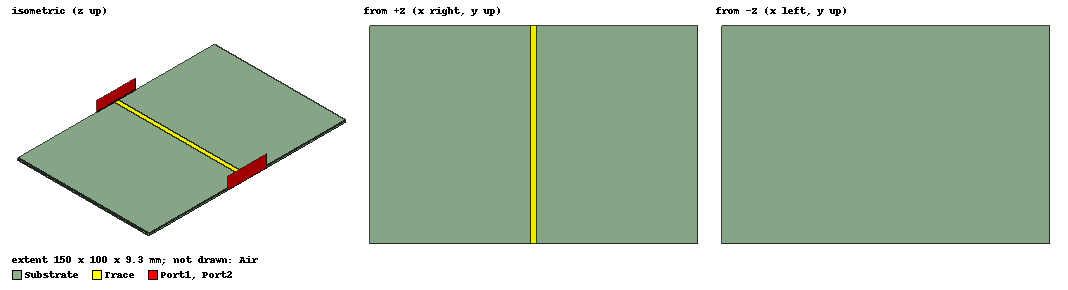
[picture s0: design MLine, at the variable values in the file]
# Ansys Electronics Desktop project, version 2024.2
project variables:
  $tanD = 0.02
  $Er = 4.5
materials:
  vacuum: permittivity=1
  MLineSubstrate: permittivity=$Er dielectric_loss_tangent=$tanD delta_H_freq=1GHz
  copper: permeability=0.999991 conductivity=58000000

design MLine (HFSS, HFSS Modal Network, model units mm)
options: Calculate_Lossy_Dielectrics
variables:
  track_w = 3mm
  sub_t = 1.55mm
  track_t = 50um
  port_h = 6*sub_t
  port_w = 10*track_w
  sub_l = 100mm
  sub_w = 5*port_w
  air_h = 3*port_h
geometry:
  Substrate [MLineSubstrate] = box(corner=(-sub_w/2, 0, 0), size=(sub_w, sub_l, sub_t))
  coordinate_system RelativeCS1 = origin=(0mm, 0mm, sub_t) x=(1mm, 0mm, 0mm) y=(0mm, 1mm, 0mm)
  Trace [copper] = box(corner=(-track_w/2, 0mm, 0mm), size=(track_w, sub_l, track_t)) in RelativeCS1
  Port1 = rectangle(corner=(-port_w/2, 0mm, 0mm), z_size=port_h, x_size=port_w)
  Port2 = rectangle(corner=(-port_w/2, sub_l, 0mm), z_size=port_h, x_size=port_w)
  Air [vacuum] = region(+X=0 percentage offset, -X=0 percentage offset, +Y=0 percentage offset, -Y=0 percentage offset, +Z=air_h absolute offset, -Z=0 percentage offset)
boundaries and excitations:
  1: Wave Port Objects=Port1 WavePortType=Default NumModes=1 Modes{Mode1{CharImp=Zpi}}
  2: Wave Port Objects=Port2 WavePortType=Default NumModes=1 Modes{Mode1{CharImp=Zpi}}
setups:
  MLine: HfssDriven MultipleAdaptiveFreqsSetup{Low=100MHz High=5GHz} MaxDeltaS=0.01 MaximumPasses=30 MinimumPasses=1 MinimumConvergedPasses=1 PercentRefinement=30 BasisOrder=-1 PortAccuracy=0.1 DrivenSolverType="Direct Solver"
    sweep Sweep: 0.1GHz to 5GHz step 0.1GHz; Type=Discrete
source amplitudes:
  1:1: 1W 0deg
  2:1: 0W 0deg
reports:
  S Parameter Plot 1: dB(S(2,1)) vs Freq on MLine : Sweep
